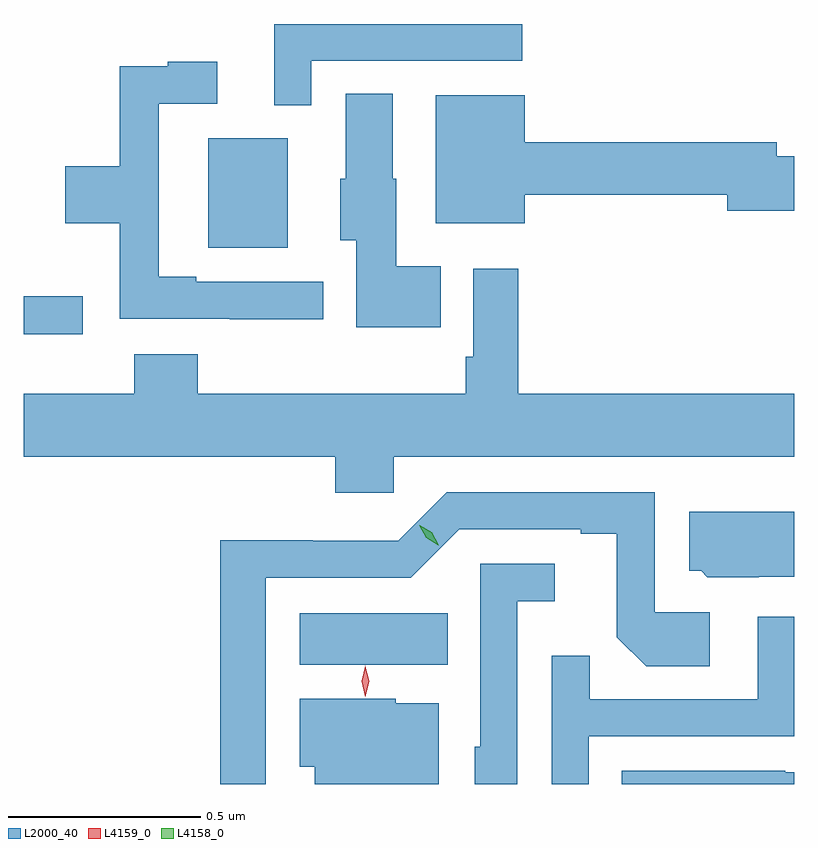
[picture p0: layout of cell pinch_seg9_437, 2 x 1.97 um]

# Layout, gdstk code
import gdstk
lib = gdstk.Library(unit=1e-6, precision=1e-09)
def R(c, l, rs):  # rectangles x0, y0, x1, y1
    for r in rs: c.add(gdstk.rectangle(r[:2], r[2:], *l))
def P(c, l, *ps):  # polygons
    for p in ps: c.add(gdstk.Polygon(p, *l))
L2000_40 = (2000, 40)
L4158_0 = (4158, 0)
L4159_0 = (4159, 0)

pinch_seg9_437 = lib.new_cell('pinch_seg9_437')
R(pinch_seg9_437, L2000_40, [(227.726,1239.836,228.11,1239.97), (227.01,1240.694,227.164,1240.793), (227.489,1240.919,227.695,1241.203)])
P(pinch_seg9_437, L2000_40, [(227.757,1241.403),(228.304,1241.403),(228.304,1241.499),(227.66,1241.499),(227.66,1241.288),(227.757,1241.288)],
  [(227.788,1240.83),(227.458,1240.83),(227.458,1240.843),(227.361,1240.843),(227.361,1241.292),(227.512,1241.292),(227.512,1241.401),(227.384,1241.401),(227.384,1241.39),(227.26,1241.39),(227.26,1241.13),(227.118,1241.13),(227.118,1240.982),(227.26,1240.982),(227.26,1240.734),(227.545,1240.734),(227.545,1240.733),(227.788,1240.733)],
  [(228.092,1240.87),(227.977,1240.87),(227.977,1241.097),(227.968,1241.097),(227.968,1241.318),(227.846,1241.318),(227.846,1241.097),(227.831,1241.097),(227.831,1240.938),(227.873,1240.938),(227.873,1240.712),(228.092,1240.712)],
  [(228.31,1241.056),(228.836,1241.056),(228.836,1241.014),(229.01,1241.014),(229.01,1241.156),(228.964,1241.156),(228.964,1241.192),(228.31,1241.192),(228.31,1241.314),(228.08,1241.314),(228.08,1240.982),(228.31,1240.982)],
  [(227.97,1240.376),(229.01,1240.376),(229.01,1240.54),(228.293,1240.54),(228.293,1240.864),(228.177,1240.864),(228.177,1240.636),(228.157,1240.636),(228.157,1240.54),(227.462,1240.54),(227.462,1240.642),(227.297,1240.642),(227.297,1240.54),(227.01,1240.54),(227.01,1240.376),(227.819,1240.376),(227.819,1240.283),(227.97,1240.283)],
  [(227.638,1240.062),(228.015,1240.062),(228.141,1240.188),(228.455,1240.188),(228.455,1240.176),(228.549,1240.176),(228.549,1239.908),(228.625,1239.832),(228.79,1239.832),(228.79,1239.972),(228.648,1239.972),(228.648,1240.284),(228.108,1240.284),(227.982,1240.158),(227.76,1240.158),(227.76,1240.16),(227.52,1240.16),(227.52,1239.527),(227.638,1239.527)],
  [(228.918,1240.065),(229.01,1240.065),(229.01,1240.234),(228.737,1240.234),(228.737,1240.08),(228.768,1240.08),(228.784,1240.064),(228.918,1240.064)],
  [(228.291,1240.001),(228.388,1240.001),(228.388,1240.098),(228.195,1240.098),(228.195,1239.624),(228.18,1239.624),(228.18,1239.527),(228.291,1239.527)],
  [(228.477,1239.651),(229.01,1239.651),(229.01,1239.961),(228.915,1239.961),(228.915,1239.747),(228.479,1239.747),(228.479,1239.86),(228.381,1239.86),(228.381,1239.527),(228.477,1239.527)],
  [(228.087,1239.736),(227.976,1239.736),(227.976,1239.748),(227.726,1239.748),(227.726,1239.572),(227.765,1239.572),(227.765,1239.527),(228.087,1239.527)],
  [(229.01,1239.558),(228.986,1239.558),(228.986,1239.561),(228.562,1239.561),(228.562,1239.527),(229.01,1239.527)])
P(pinch_seg9_437, L4158_0, [(228.086,1240.147),(228.055,1240.166),(228.037,1240.199),(228.037,1240.199),(228.038,1240.199),(228.069,1240.18),(228.087,1240.147),(228.087,1240.147)])
P(pinch_seg9_437, L4159_0, [(227.896,1239.754),(227.887,1239.794),(227.897,1239.833),(227.897,1239.834),(227.897,1239.833),(227.907,1239.794),(227.897,1239.754),(227.897,1239.754)])

lib.write_gds('pinch_seg9_437.gds')
